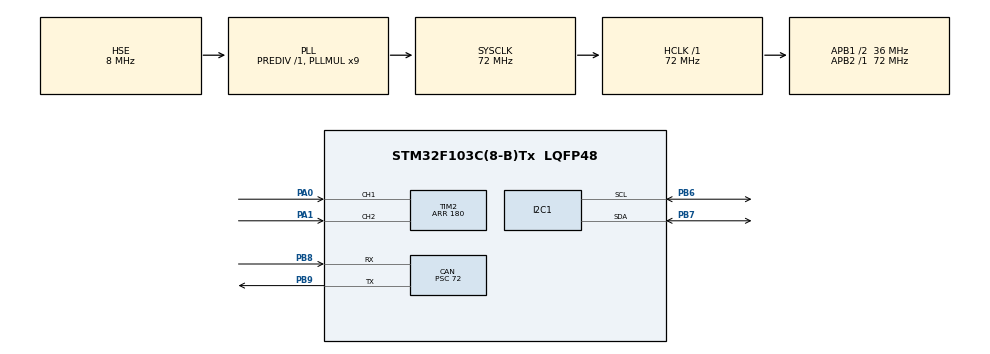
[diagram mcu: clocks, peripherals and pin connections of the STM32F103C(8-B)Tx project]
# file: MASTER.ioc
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CAN.BS1=CAN_BS1_2TQ
CAN.CalculateBaudRate=125000
CAN.CalculateTimeBit=8000
CAN.CalculateTimeQuantum=2000.0
CAN.Prescaler=72
FREERTOS.Tasks01=defaultTask,0,128,StartDefaultTask,Default,NULL,Dynamic,NULL,NULL
FREERTOS.configUSE_NEWLIB_REENTRANT=1
I2C1.I2C_Mode=I2C_Fast
Mcu.Family=STM32F1
Mcu.Name=STM32F103C(8-B)Tx
Mcu.Package=LQFP48
NVIC.CAN1_RX1_IRQn=true\:5\:0\:false\:false\:true\:true\:true\:true\:true
NVIC.PriorityGroup=NVIC_PRIORITYGROUP_4
NVIC.TIM1_UP_IRQn=true\:15\:0\:false\:false\:true\:false\:false\:true\:true
NVIC.TimeBase=TIM1_UP_IRQn
NVIC.TimeBaseIP=TIM1
PA0-WKUP.Signal=S_TIM2_CH1_ETR
PA1.Signal=S_TIM2_CH2
PA13.Mode=Serial_Wire
PA13.Signal=SYS_JTMS-SWDIO
PA14.Mode=Serial_Wire
PA14.Signal=SYS_JTCK-SWCLK
PB6.Mode=I2C
PB6.Signal=I2C1_SCL
PB7.Mode=I2C
PB7.Signal=I2C1_SDA
PB8.Mode=CAN_Activate
PB8.Signal=CAN_RX
PB9.Mode=CAN_Activate
PB9.Signal=CAN_TX
PD0-OSC_IN.Mode=HSE-External-Oscillator
PD0-OSC_IN.Signal=RCC_OSC_IN
PD1-OSC_OUT.Mode=HSE-External-Oscillator
PD1-OSC_OUT.Signal=RCC_OSC_OUT
ProjectManager.HeapSize=0x200
ProjectManager.StackSize=0x400
ProjectManager.TargetToolchain=STM32CubeIDE
RCC.ADCPresc=RCC_ADCPCLK2_DIV6
RCC.AHBFreq_Value=72000000
RCC.APB1CLKDivider=RCC_HCLK_DIV2
RCC.APB1Freq_Value=36000000
RCC.APB1TimFreq_Value=72000000
RCC.APB2Freq_Value=72000000
RCC.APB2TimFreq_Value=72000000
RCC.HCLKFreq_Value=72000000
RCC.PLLMUL=RCC_PLL_MUL9
RCC.PLLSourceVirtual=RCC_PLLSOURCE_HSE
RCC.SYSCLKFreq_VALUE=72000000
RCC.SYSCLKSource=RCC_SYSCLKSOURCE_PLLCLK
RCC.USBFreq_Value=72000000
SH.S_TIM2_CH1_ETR.0=TIM2_CH1,Encoder_Interface
SH.S_TIM2_CH2.0=TIM2_CH2,Encoder_Interface
TIM2.EncoderMode=TIM_ENCODERMODE_TI12
TIM2.Period=180
VP_FREERTOS_VS_CMSIS_V1.Mode=CMSIS_V1
VP_SYS_VS_tim1.Mode=TIM1
board=custom

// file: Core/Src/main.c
/* USER CODE BEGIN Header */
/**
  ******************************************************************************
  * @file           : main.c
  * @brief          : Main program body
  ******************************************************************************
  * @attention
  *
  * Copyright (c) 2025 STMicroelectronics.
  * All rights reserved.
  *
  * This software is licensed under terms that can be found in the LICENSE file
  * in the root directory of this software component.
  * If no LICENSE file comes with this software, it is provided AS-IS.
  *
  ******************************************************************************
  */
/* USER CODE END Header */
#include "main.h"

/* USER CODE BEGIN Includes */
#include "FreeRTOS.h"
#include "task.h"
//#include "timers.h"
#include "queue.h"
#include "semphr.h"
//#include "event_groups.h"

#include "fonts.h"
#include "ssd1306.h"

#include "stdio.h"
/* USER CODE END Includes */

CAN_HandleTypeDef hcan;

I2C_HandleTypeDef hi2c1;

TIM_HandleTypeDef htim2;

void SystemClock_Config(void);
static void MX_GPIO_Init(void);
static void MX_CAN_Init(void);
static void MX_I2C1_Init(void);
static void MX_TIM2_Init(void);

/* USER CODE BEGIN 0 */
uint8_t readValue;
uint8_t signal_feedback;

// RX
CAN_FilterTypeDef sFilterConfig;
CAN_RxHeaderTypeDef RxHeader;
uint8_t RxData[8];

//TX
CAN_TxHeaderTypeDef TxHeader;
uint32_t TxMailbox;
uint8_t TxData[8]="NIZAR---";

int debug;
size_t freeHeap;

/**************** MUTEX HANDLER ***********************/
SemaphoreHandle_t ADCMutex;

/**************** QUEUE HANDLER ***********************/
xQueueHandle ControlSignalQueue;

/**************** TASK HANDLER ***********************/
TaskHandle_t SendMessage_Handler;
TaskHandle_t ReceiveMessage_Handler;
TaskHandle_t Display_Handler;
TaskHandle_t ReadPotentiometer_Handler;

void Task_SendMessage (void *argument);
void Task_ReceiveMessage (void *argument);
void Task_Display (void *argument);
void Task_ReadPotentiometer (void *argument);

int lastDataRx;
void HAL_CAN_RxFifo1MsgPendingCallback(CAN_HandleTypeDef *hcan)
{
	BaseType_t xHigherPriorityTaskWoken = pdFALSE;
	HAL_CAN_GetRxMessage(hcan, CAN_RX_FIFO1, &RxHeader, RxData);
	if(lastDataRx != RxData[7]){
		lastDataRx = RxData[7];
		xQueueSendFromISR(ControlSignalQueue, &lastDataRx, &xHigherPriorityTaskWoken);
		portEND_SWITCHING_ISR(xHigherPriorityTaskWoken);
	}
//	signal_feedback = RxData[7];
}
/* USER CODE END 0 */

int main(void)
{

  /* MCU Configuration--------------------------------------------------------*/

  /* Reset of all peripherals, Initializes the Flash interface and the Systick. */
  HAL_Init();

  /* Configure the system clock */
  SystemClock_Config();

  /* Initialize all configured peripherals */
  MX_GPIO_Init();
  MX_CAN_Init();
  MX_I2C1_Init();
  MX_TIM2_Init();
  /* USER CODE BEGIN 2 */

  // Potentiometer | encoder
  HAL_TIM_Encoder_Start(&htim2, TIM_CHANNEL_ALL);

  // CAN
  HAL_CAN_Start(&hcan);
  TxHeader.DLC = 8;  // data length
  TxHeader.IDE = CAN_ID_STD;
  TxHeader.RTR = CAN_RTR_DATA;
  TxHeader.StdId = 0x6A5;  // ID can be between Hex1 and Hex7FF (1-2047 decimal)

  sFilterConfig.FilterActivation = CAN_FILTER_ENABLE;
  sFilterConfig.FilterFIFOAssignment = CAN_FILTER_FIFO1;
  sFilterConfig.FilterMode = CAN_FILTERMODE_IDMASK;
  sFilterConfig.FilterIdHigh = 0x6F5<<5;
  sFilterConfig.FilterIdLow = 0;
  sFilterConfig.FilterMaskIdHigh = 0x7FF<<5; // SET 0 to unfilter
  sFilterConfig.FilterMaskIdLow = 0;
  sFilterConfig.FilterScale = CAN_FILTERSCALE_32BIT;
  HAL_CAN_ConfigFilter(&hcan, &sFilterConfig);
  // Activate the notification
  HAL_CAN_ActivateNotification(&hcan, CAN_IT_RX_FIFO1_MSG_PENDING);

  // Init Oled
  SSD1306_Init();

  SSD1306_GotoXY (0,0);
  SSD1306_Puts ("Current:", &Font_11x18, 1);
  SSD1306_GotoXY (0, 30);
  SSD1306_Puts ("Desired:", &Font_11x18, 1);
  SSD1306_UpdateScreen();

  ADCMutex = xSemaphoreCreateMutex();
  ControlSignalQueue = xQueueCreate(5, sizeof (int));

  xTaskCreate(Task_SendMessage, "SendMessage", 128, NULL, 3, &SendMessage_Handler);
  xTaskCreate(Task_ReadPotentiometer, "ReadPotentiometer", 128, NULL, 3, &ReadPotentiometer_Handler);
  xTaskCreate(Task_Display, "Display", 128, NULL, 2, &Display_Handler);
  BaseType_t result = xTaskCreate(Task_ReceiveMessage, "ReceiveMessage", 128, NULL, 1, &ReceiveMessage_Handler);

  if (result != pdPASS) {
      debug = 99999; // Task failed to create
  }
  freeHeap = xPortGetFreeHeapSize();

  vTaskStartScheduler();

  /* USER CODE END 2 */

  /* Infinite loop */
  while (1)
  {

  }
}

void SystemClock_Config(void)
{
  RCC_OscInitTypeDef RCC_OscInitStruct = {0};
  RCC_ClkInitTypeDef RCC_ClkInitStruct = {0};

  /** Initializes the RCC Oscillators according to the specified parameters
  * in the RCC_OscInitTypeDef structure.
  */
  RCC_OscInitStruct.OscillatorType = RCC_OSCILLATORTYPE_HSE;
  RCC_OscInitStruct.HSEState = RCC_HSE_ON;
  RCC_OscInitStruct.HSEPredivValue = RCC_HSE_PREDIV_DIV1;
  RCC_OscInitStruct.HSIState = RCC_HSI_ON;
  RCC_OscInitStruct.PLL.PLLState = RCC_PLL_ON;
  RCC_OscInitStruct.PLL.PLLSource = RCC_PLLSOURCE_HSE;
  RCC_OscInitStruct.PLL.PLLMUL = RCC_PLL_MUL9;
  if (HAL_RCC_OscConfig(&RCC_OscInitStruct) != HAL_OK)
  {
    Error_Handler();
  }

  /** Initializes the CPU, AHB and APB buses clocks
  */
  RCC_ClkInitStruct.ClockType = RCC_CLOCKTYPE_HCLK|RCC_CLOCKTYPE_SYSCLK
                              |RCC_CLOCKTYPE_PCLK1|RCC_CLOCKTYPE_PCLK2;
  RCC_ClkInitStruct.SYSCLKSource = RCC_SYSCLKSOURCE_PLLCLK;
  RCC_ClkInitStruct.AHBCLKDivider = RCC_SYSCLK_DIV1;
  RCC_ClkInitStruct.APB1CLKDivider = RCC_HCLK_DIV2;
  RCC_ClkInitStruct.APB2CLKDivider = RCC_HCLK_DIV1;

  if (HAL_RCC_ClockConfig(&RCC_ClkInitStruct, FLASH_LATENCY_2) != HAL_OK)
  {
    Error_Handler();
  }
}

static void MX_CAN_Init(void)
{

  hcan.Instance = CAN1;
  hcan.Init.Prescaler = 72;
  hcan.Init.Mode = CAN_MODE_NORMAL;
  hcan.Init.SyncJumpWidth = CAN_SJW_1TQ;
  hcan.Init.TimeSeg1 = CAN_BS1_2TQ;
  hcan.Init.TimeSeg2 = CAN_BS2_1TQ;
  hcan.Init.TimeTriggeredMode = DISABLE;
  hcan.Init.AutoBusOff = DISABLE;
  hcan.Init.AutoWakeUp = DISABLE;
  hcan.Init.AutoRetransmission = DISABLE;
  hcan.Init.ReceiveFifoLocked = DISABLE;
  hcan.Init.TransmitFifoPriority = DISABLE;
  if (HAL_CAN_Init(&hcan) != HAL_OK)
  {
    Error_Handler();
  }

}

static void MX_I2C1_Init(void)
{

  hi2c1.Instance = I2C1;
  hi2c1.Init.ClockSpeed = 400000;
  hi2c1.Init.DutyCycle = I2C_DUTYCYCLE_2;
  hi2c1.Init.OwnAddress1 = 0;
  hi2c1.Init.AddressingMode = I2C_ADDRESSINGMODE_7BIT;
  hi2c1.Init.DualAddressMode = I2C_DUALADDRESS_DISABLE;
  hi2c1.Init.OwnAddress2 = 0;
  hi2c1.Init.GeneralCallMode = I2C_GENERALCALL_DISABLE;
  hi2c1.Init.NoStretchMode = I2C_NOSTRETCH_DISABLE;
  if (HAL_I2C_Init(&hi2c1) != HAL_OK)
  {
    Error_Handler();
  }

}

static void MX_TIM2_Init(void)
{

  TIM_Encoder_InitTypeDef sConfig = {0};
  TIM_MasterConfigTypeDef sMasterConfig = {0};

  htim2.Instance = TIM2;
  htim2.Init.Prescaler = 0;
  htim2.Init.CounterMode = TIM_COUNTERMODE_UP;
  htim2.Init.Period = 180;
  htim2.Init.ClockDivision = TIM_CLOCKDIVISION_DIV1;
  htim2.Init.AutoReloadPreload = TIM_AUTORELOAD_PRELOAD_DISABLE;
  sConfig.EncoderMode = TIM_ENCODERMODE_TI12;
  sConfig.IC1Polarity = TIM_ICPOLARITY_RISING;
  sConfig.IC1Selection = TIM_ICSELECTION_DIRECTTI;
  sConfig.IC1Prescaler = TIM_ICPSC_DIV1;
  sConfig.IC1Filter = 0;
  sConfig.IC2Polarity = TIM_ICPOLARITY_RISING;
  sConfig.IC2Selection = TIM_ICSELECTION_DIRECTTI;
  sConfig.IC2Prescaler = TIM_ICPSC_DIV1;
  sConfig.IC2Filter = 0;
  if (HAL_TIM_Encoder_Init(&htim2, &sConfig) != HAL_OK)
  {
    Error_Handler();
  }
  sMasterConfig.MasterOutputTrigger = TIM_TRGO_RESET;
  sMasterConfig.MasterSlaveMode = TIM_MASTERSLAVEMODE_DISABLE;
  if (HAL_TIMEx_MasterConfigSynchronization(&htim2, &sMasterConfig) != HAL_OK)
  {
    Error_Handler();
  }

}

static void MX_GPIO_Init(void)
{

  /* GPIO Ports Clock Enable */
  __HAL_RCC_GPIOD_CLK_ENABLE();
  __HAL_RCC_GPIOA_CLK_ENABLE();
  __HAL_RCC_GPIOB_CLK_ENABLE();

}

/* USER CODE BEGIN 4 */

void Task_ReadPotentiometer(void *argument)
{
	while(1){
		xSemaphoreTake(ADCMutex, portMAX_DELAY);
		readValue = __HAL_TIM_GET_COUNTER(&htim2);
		xSemaphoreGive(ADCMutex);
		vTaskDelay(200);
	}
}

void Task_SendMessage(void *argument)
{
	while(1){
		xSemaphoreTake(ADCMutex, portMAX_DELAY);
		TxData[7] = readValue;
		HAL_CAN_AddTxMessage(&hcan, &TxHeader, TxData, &TxMailbox);
		xSemaphoreGive(ADCMutex);
		vTaskDelay(200);
	}
}

void Task_Display(void *argument)
{
	char snum[5];
	char snum2[5];
	int current_angle;
	int desire_angle;
	while(1){
		xSemaphoreTake(ADCMutex, portMAX_DELAY);
		desire_angle = readValue/2;
		current_angle = signal_feedback;
		sprintf(snum, "%03d", current_angle);
		sprintf(snum2, "%03d", desire_angle);
		SSD1306_GotoXY (90,0);
		SSD1306_Puts (snum, &Font_11x18, 1);
		SSD1306_GotoXY (90, 30);
		SSD1306_Puts (snum2, &Font_11x18, 1);
		SSD1306_UpdateScreen();
		xSemaphoreGive(ADCMutex);
		vTaskDelay(500);
	}
}

void Task_ReceiveMessage(void *argument)
{
	int received;
	while(1){
		if (xQueueReceive(ControlSignalQueue, &received, portMAX_DELAY) == pdTRUE){
			signal_feedback = received;
		}
	}
}

/* USER CODE END 4 */

void HAL_TIM_PeriodElapsedCallback(TIM_HandleTypeDef *htim)
{
  if (htim->Instance == TIM1)
  {
    HAL_IncTick();
  }
}

void Error_Handler(void)
{
  __disable_irq();
  while (1)
  {
  }
}
